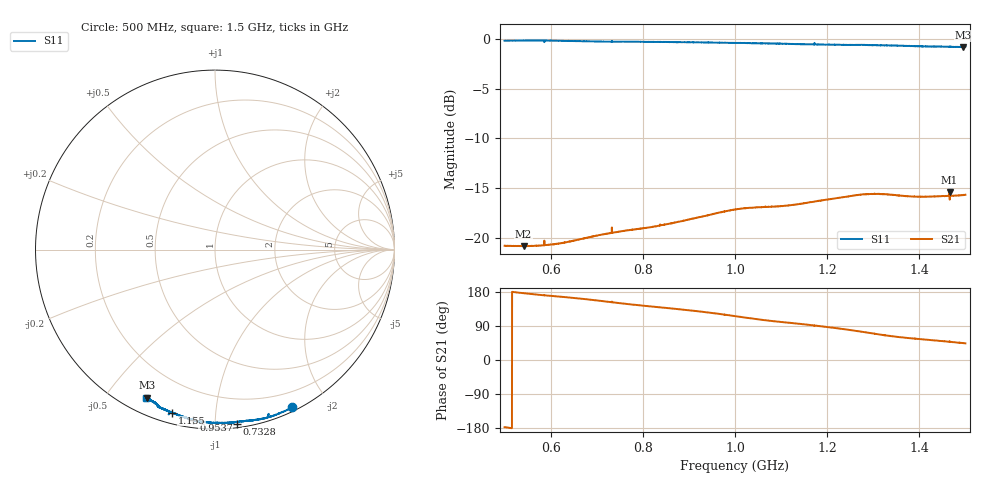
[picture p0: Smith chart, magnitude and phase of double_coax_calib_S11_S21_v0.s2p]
# HZ S RI R 50
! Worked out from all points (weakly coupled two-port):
!   3201 points, 500 MHz to 1.5 GHz, reference 50 ohm
!   highest |S21| = -15.37 dB at 1.466 GHz (marker M1); lowest = -20.8 dB at 541.2 MHz (marker M2)
!   lowest |S11| = -0.8 dB at 1.495 GHz (marker M3), VSWR 20.92, Z = 3.37 - j31.9 ohm
!   |S11| at or under -10 dB: nowhere
!   S12 and S22 are empty: the file has one direction only
!   S11 on the Smith chart (normalised r, x): 500 MHz: 0.04, -1.61; 732.8 MHz: 0.03, -1.14; 953.8 MHz: 0.04, -0.88; 1.155 GHz: 0.05, -0.77; 1.5 GHz: 0.06, -0.63
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5e8  0.4315 -0.8771  -0.0912 -0.0044  0 0  0 0
5.4125e8  0.3594 -0.9109  -0.0907 0.00624  0 0  0 0
5.9375e8  0.2848 -0.9382  -0.0908 0.0161  0 0  0 0
6.66875e8  0.2046 -0.9505  -0.0938 0.031  0 0  0 0
7.328125e8  0.1242 -0.9694  -0.1014 0.0494  0 0  0 0
7.7125e8  0.0865 -0.9633  -0.092 0.0595  0 0  0 0
8.334375e8  -0.0025 -0.9654  -0.0873 0.0748  0 0  0 0
8.96875e8  -0.0798 -0.9585  -0.0815 0.0928  0 0  0 0
9.5375e8  -0.1204 -0.95  -0.0729 0.1102  0 0  0 0
1e9  -0.1415 -0.9439  -0.0605 0.1251  0 0  0 0
1.066875e9  -0.1737 -0.9325  -0.0363 0.1385  0 0  0 0
1.107812e9  -0.2013 -0.9238  -0.0239 0.143  0 0  0 0
1.154688e9  -0.2394 -0.9086  -0.00927 0.1495  0 0  0 0
1.166875e9  -0.2469 -0.905  -0.00524 0.1514  0 0  0 0
1.207188e9  -0.278 -0.8919  0.0113 0.1562  0 0  0 0
1.255938e9  -0.3005 -0.883  0.034 0.1596  0 0  0 0
1.289688e9  -0.3095 -0.878  0.0521 0.1578  0 0  0 0
1.333438e9  -0.3186 -0.8708  0.073 0.1482  0 0  0 0
1.395e9  -0.3296 -0.8579  0.0903 0.1336  0 0  0 0
1.465625e9  -0.363 -0.8337  0.1103 0.1298  0 0  0 0
1.495e9  -0.3795 -0.8257  0.1168 0.115  0 0  0 0
1.5e9  -0.3855 -0.8262  0.1187 0.1143  0 0  0 0
